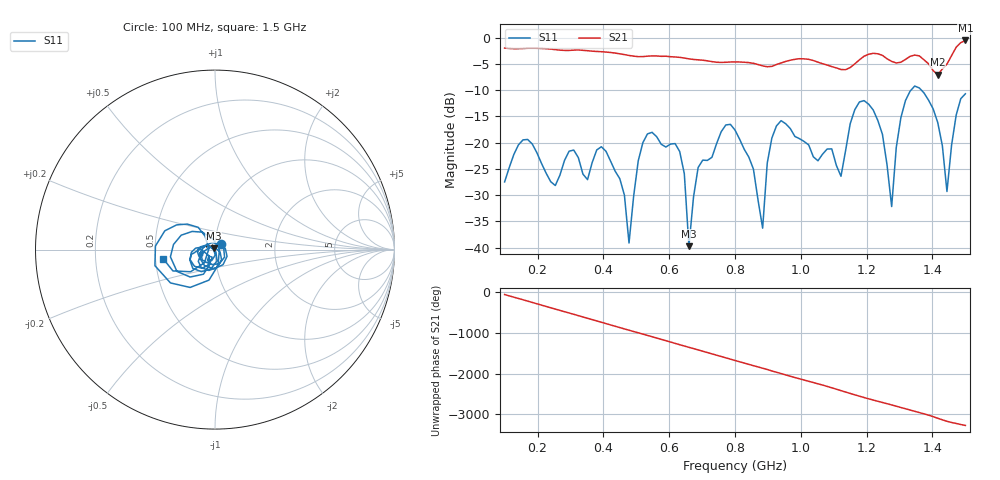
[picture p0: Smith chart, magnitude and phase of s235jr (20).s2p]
! NanoVNA-App
! Date: 2025-09-25 15:04:19
! Start: 100MHz Stop: 1,5GHz Points: 101
! S-Parameter data: F S11 S21 S12 S22
# Hz S RI R 50
!  Frequency  S11_Real  S11_Imag  S21_Real  S21_Imag  S12_Real  S12_Imag  S22_Real  S22_Imag
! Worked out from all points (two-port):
!   101 points, 100 MHz to 1.5 GHz, reference 50 ohm
!   highest |S21| = -0.51 dB at 1.5 GHz (marker M1); lowest = -7.0 dB at 1.416 GHz (marker M2)
!   |S21| within 3 dB of the highest: start of sweep to 493 MHz; 1.192 GHz to 1.251 GHz (58.97 MHz wide, 4.83 % of centre) (the widest 2 of 5)
!   lowest |S11| = -39.7 dB at 660 MHz (marker M3), VSWR 1.02, Z = 49.2 + j0.646 ohm
!   |S11| at or under -10 dB: start of sweep to 1.335 GHz; 1.367 GHz to end of sweep
!   S12 and S22 are empty: the file has one direction only
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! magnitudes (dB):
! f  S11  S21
! 100 MHz  -27.5  -2.0
! 156 MHz  -19.5  -2.0
! 338 MHz  -26.0  -2.4
! 408 MHz  -21.6  -2.7
! 478 MHz  -39.1  -3.4
! 520 MHz  -20.0  -3.6
! 576 MHz  -20.3  -3.5
! 632 MHz  -21.7  -3.7
! 660 MHz  -39.7  -4.0
! 688 MHz  -24.7  -4.2
! 800 MHz  -17.6  -4.6
! 884 MHz  -36.3  -5.4
! 926 MHz  -16.8  -5.1
! 1.038 GHz  -22.7  -4.3
! 1.122 GHz  -26.4  -6.1
! 1.192 GHz  -12.0  -3.5
! 1.248 GHz  -18.4  -3.4
! 1.276 GHz  -32.2  -4.5
! 1.332 GHz  -10.2  -3.5
! 1.416 GHz  -16.2  -7.0
! 1.444 GHz  -29.3  -5.0
! 1.5 GHz  -10.7  -0.5
